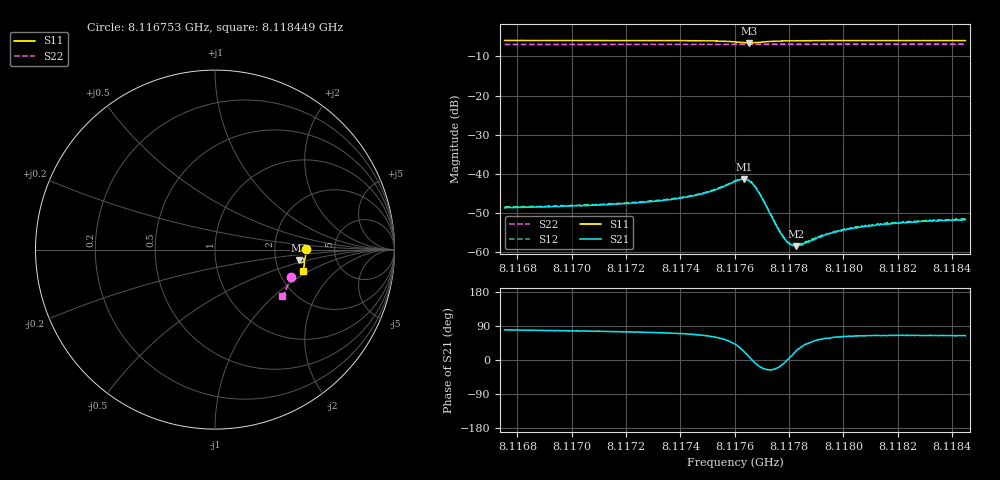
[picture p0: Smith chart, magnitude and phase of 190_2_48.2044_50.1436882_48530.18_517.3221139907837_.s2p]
#  HZ  S  RI  R  50.00
! Rohde & Schwarz Vector Network Analyzer
! Rohde-Schwarz,ZNB20-2Port,1311601062101988,3.16
! Created: UTC 3/20/2024, 11:44:35 AM
! freq[Hz]  re:S11  im:S11  re:S21  im:S21  re:S12  im:S12  re:S22  im:S22
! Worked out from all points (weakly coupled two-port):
!   401 points, 8.116753 GHz to 8.118449 GHz, reference 50 ohm
!   highest |S21| = -41.37 dB at 8.117635 GHz (marker M1); lowest = -58.5 dB at 8.117826 GHz (marker M2)
!   lowest |S11| = -6.5 dB at 8.117652 GHz (marker M3), VSWR 2.79, Z = 136 - j20.6 ohm
!   |S11| at or under -10 dB: nowhere
!   |S22| runs from -6.9 to -6.8 dB; largest |S21 - S12| = 0.00022
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8.1167529e9  0.5065 0.00197  0.000673 0.00362  0.000746 0.00371  0.4236 -0.1528
8.117037e9  0.5055 -0.0203  0.000905 0.00381  0.000972 0.00386  0.4172 -0.1715
8.1173211e9  0.503 -0.0438  0.00139 0.0043  0.00146 0.00437  0.41 -0.1902
8.117461e9  0.4992 -0.0575  0.00215 0.00491  0.00219 0.00501  0.406 -0.1993
8.1175289e9  0.4947 -0.0655  0.00312 0.00544  0.00322 0.0055  0.4037 -0.2036
8.1176009e9  0.481 -0.0722  0.00596 0.00531  0.00615 0.00533  0.4011 -0.2081
8.1176349e9  0.4704 -0.0663  0.00792 0.00318  0.00809 0.0032  0.3997 -0.2097
8.1176518e9  0.468 -0.059  0.00808 0.00129  0.0082 0.00123  0.3992 -0.2104
8.1176688e9  0.4706 -0.0516  0.00723 -0.000469  0.00739 -0.000539  0.3991 -0.2111
8.11769e9  0.4779 -0.0465  0.00542 -0.00161  0.00552 -0.00168  0.3988 -0.2123
8.1177578e9  0.4942 -0.0533  0.00189 -0.000716  0.00195 -0.000774  0.3973 -0.2169
8.1177833e9  0.4962 -0.0573  0.00147 -0.000194  0.00149 -0.000195  0.3968 -0.2186
8.1178045e9  0.4974 -0.0604  0.00126 0.000182  0.00127 0.000138  0.3962 -0.22
8.1178257e9  0.498 -0.0631  0.00109 0.000482  0.00113 0.000472  0.3954 -0.2214
8.1178469e9  0.4983 -0.0658  0.00102 0.000717  0.00108 0.000719  0.3948 -0.2227
8.117885e9  0.4984 -0.0701  0.000978 0.00108  0.001 0.00108  0.3936 -0.2251
8.1179232e9  0.4986 -0.074  0.00091 0.00132  0.000943 0.00137  0.3924 -0.2275
8.117991e9  0.4982 -0.0805  0.000897 0.00163  0.000895 0.00167  0.3901 -0.2318
8.1180758e9  0.4969 -0.0877  0.00093 0.0019  0.000947 0.00192  0.3873 -0.2372
8.1181691e9  0.4958 -0.0954  0.000943 0.00206  0.000994 0.00211  0.384 -0.2428
8.1182878e9  0.4939 -0.1047  0.00106 0.00224  0.00107 0.00226  0.3799 -0.2499
8.1184489e9  0.491 -0.117  0.00114 0.00234  0.00116 0.0024  0.3739 -0.2596
